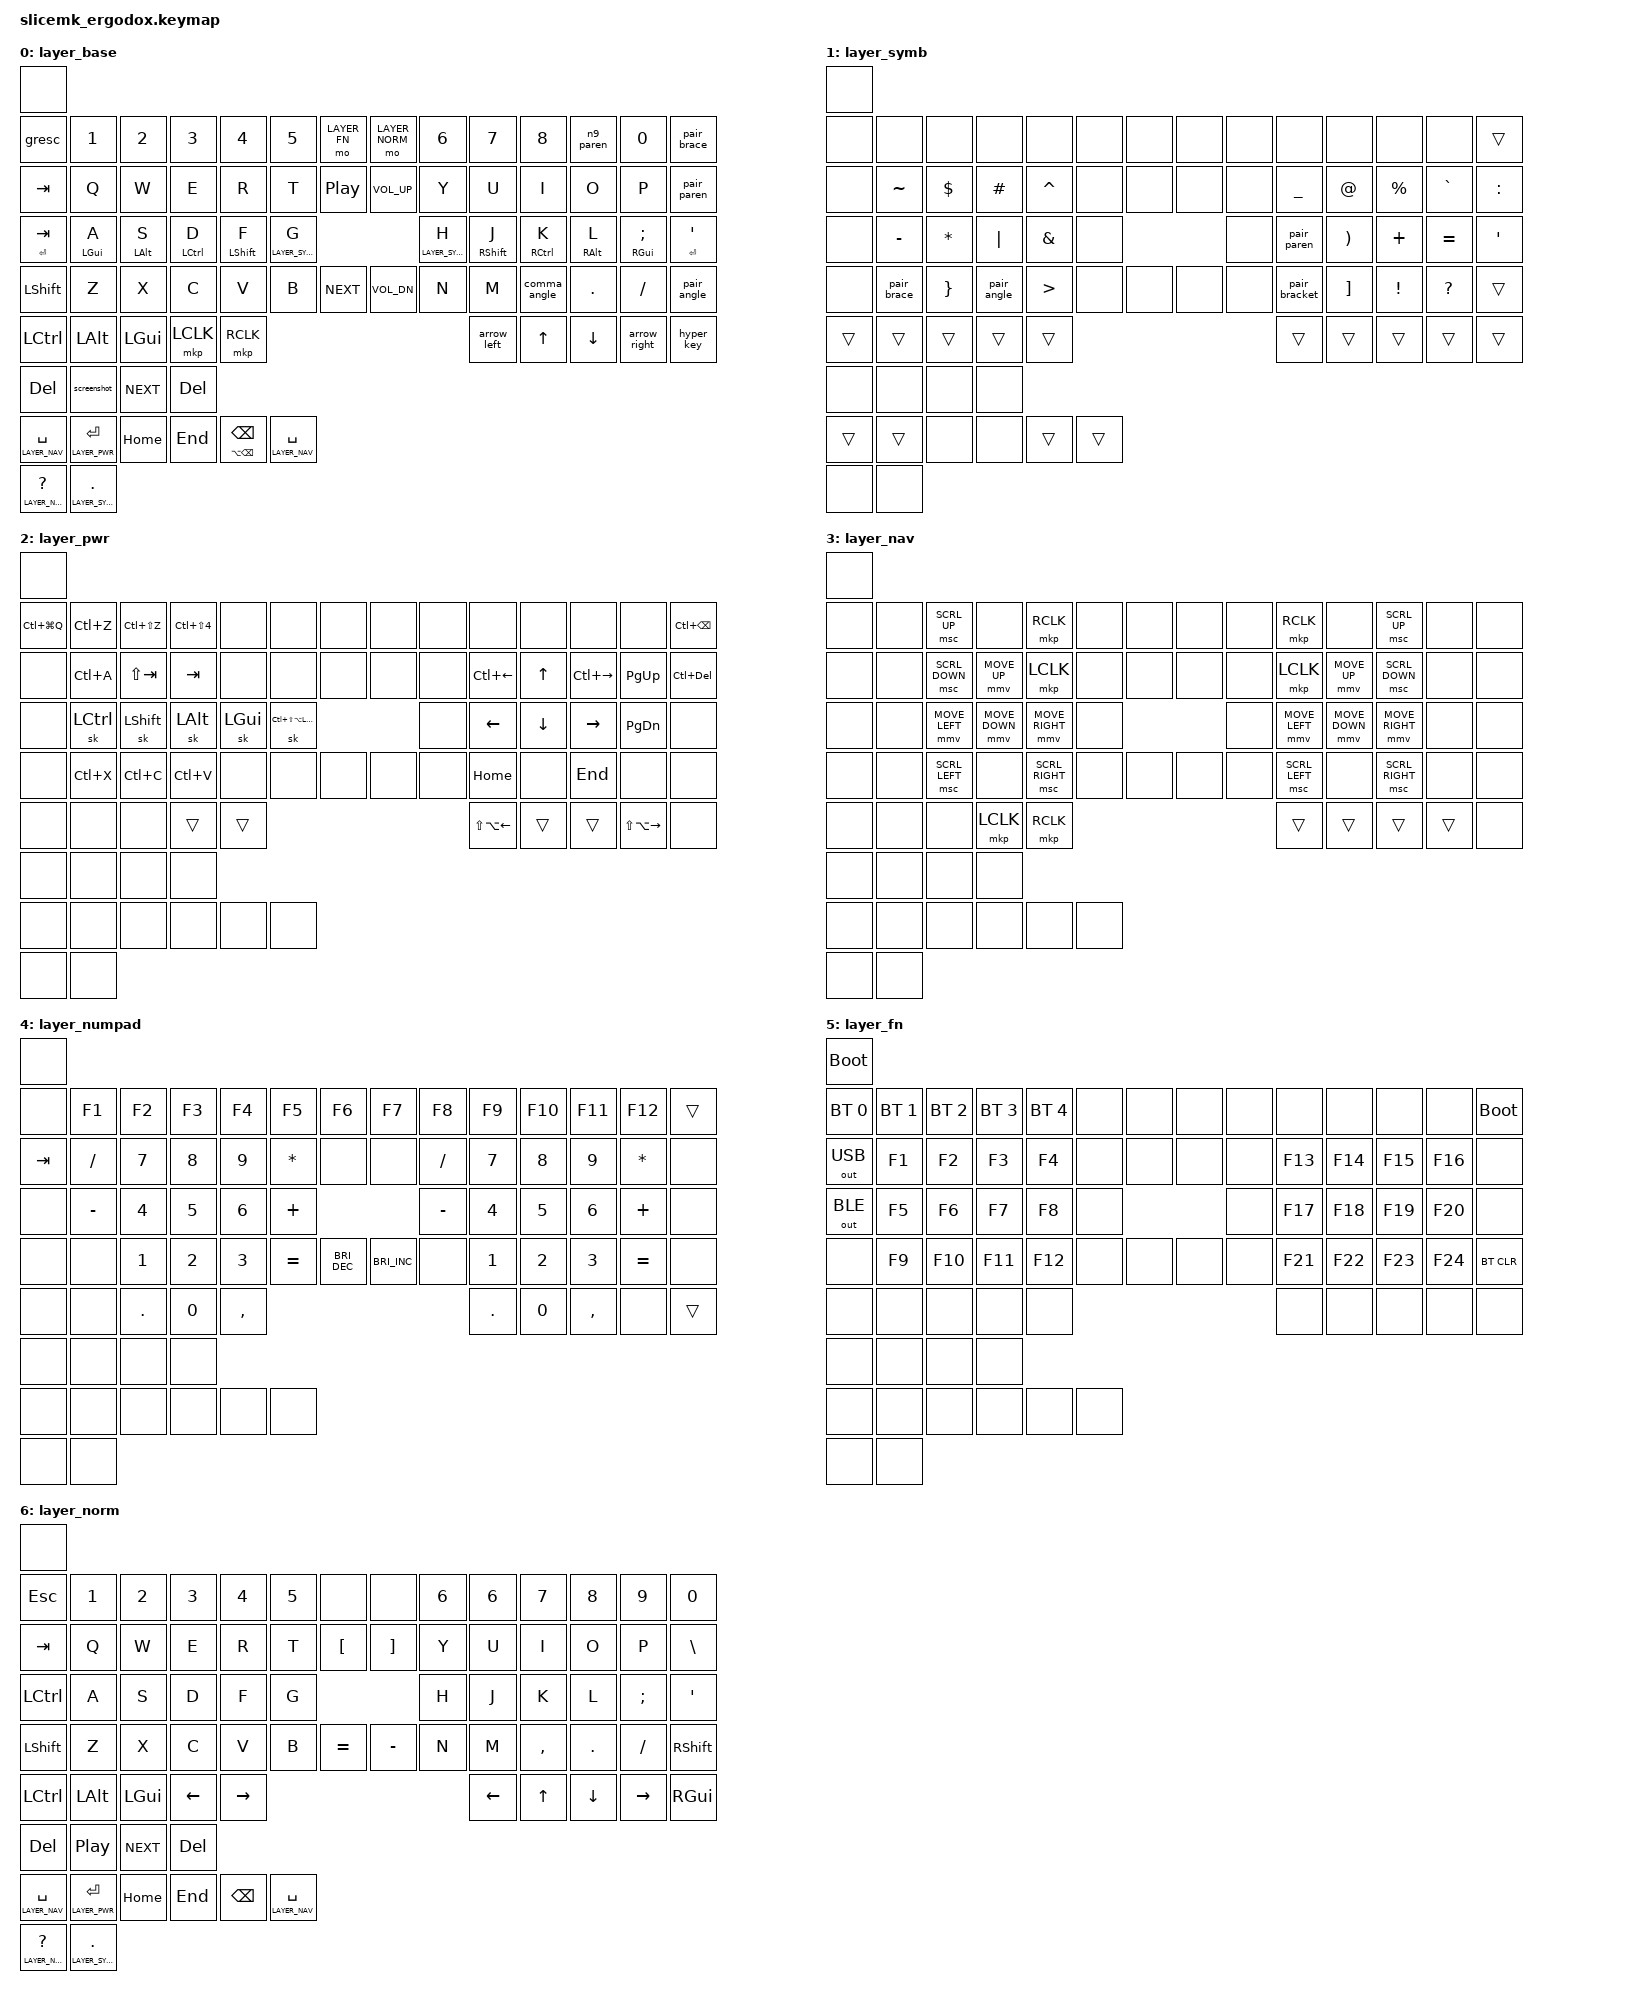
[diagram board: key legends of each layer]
#define LAYER_BASE 0
#define LAYER_SYMB 1
#define LAYER_PWR 2
#define LAYER_NAV 3
#define LAYER_NMPAD 4
#define LAYER_FN 5
#define LAYER_NORM 6

#include <behaviors.dtsi>
#include <dt-bindings/zmk/bt.h>
#include <dt-bindings/zmk/keys.h>
#include <dt-bindings/zmk/mouse.h>
#include <dt-bindings/zmk/outputs.h>

/* Mouse cursor settings - high speed, no acceleration ramp */
&mmv {
    delay-ms = <0>;
    time-to-max-speed-ms = <100>;
    acceleration-exponent = <2>;
};

/* Scroll wheel settings - instant max speed */
&msc {
    delay-ms = <0>;
    time-to-max-speed-ms = <100>;
    acceleration-exponent = <1>;
};


/ {
    behaviors {
        /* Grave/Escape key - Grave when held with Shift/Cmd, Escape otherwise */
        gresc: grave_escape {
            compatible = "zmk,behavior-mod-morph";
            #binding-cells = <0>;
            bindings = <&kp ESC>, <&kp GRAVE>;
            mods = <(MOD_LGUI|MOD_LSFT|MOD_RGUI|MOD_RSFT)>;
        };

        /* N9 key - outputs 9 normally, pair_paren macro when any modifier is held */
        n9_paren: n9_parentheses {
            compatible = "zmk,behavior-mod-morph";
            #binding-cells = <0>;
            bindings = <&kp N9>, <&pair_paren>;
            mods = <(MOD_LSFT|MOD_RSFT|MOD_LCTL|MOD_RCTL|MOD_LALT|MOD_RALT|MOD_LGUI|MOD_RGUI)>;
        };

        /* Comma key - outputs comma normally, pair_angle (<>) when any modifier is held */
        comma_angle: comma_angle_brackets {
            compatible = "zmk,behavior-mod-morph";
            #binding-cells = <0>;
            bindings = <&kp COMMA>, <&pair_angle>;
            mods = <(MOD_LSFT|MOD_RSFT|MOD_LCTL|MOD_RCTL|MOD_LALT|MOD_RALT|MOD_LGUI|MOD_RGUI)>;
        };

        /* Double quote key - outputs " normally, pair_dquote ("") when any modifier is held */
        dqt_pair: double_quote_pair {
            compatible = "zmk,behavior-mod-morph";
            #binding-cells = <0>;
            bindings = <&kp DQT>, <&pair_dquote>;
            mods = <(MOD_LSFT|MOD_RSFT|MOD_LCTL|MOD_RCTL|MOD_LALT|MOD_RALT|MOD_LGUI|MOD_RGUI)>;
        };

        /* Home row mods - optimized for fast typing */
        hm: homerow_mod {
            compatible = "zmk,behavior-hold-tap";
            #binding-cells = <2>;
            flavor = "balanced";
            tapping-term-ms = <300>;
            quick-tap-ms = <200>;
            require-prior-idle-ms = <200>;
            bindings = <&kp>, <&kp>;
        };

        /* Home row mods for shift - shorter timing for faster access */
        hms: homerow_mod_shift {
            compatible = "zmk,behavior-hold-tap";
            #binding-cells = <2>;
            flavor = "balanced";
            tapping-term-ms = <250>;
            quick-tap-ms = <200>;
            require-prior-idle-ms = <200>;
            bindings = <&kp>, <&kp>;
        };

        /* Hold backspace = delete word (Option+Backspace on macOS) */
        bspc_word: backspace_word {
            compatible = "zmk,behavior-hold-tap";
            #binding-cells = <2>;
            flavor = "balanced";
            tapping-term-ms = <250>;
            quick-tap-ms = <0>;
            require-prior-idle-ms = <200>;
            bindings = <&kp>, <&kp>;
        };

        /* Arrow keys with word jump on hold */
        arrow_left: arrow_word_left {
            compatible = "zmk,behavior-hold-tap";
            #binding-cells = <0>;
            flavor = "balanced";
            tapping-term-ms = <250>;
            quick-tap-ms = <200>;
            require-prior-idle-ms = <150>;
            bindings = <&word_left>, <&kp LEFT>;
        };

        arrow_right: arrow_word_right {
            compatible = "zmk,behavior-hold-tap";
            #binding-cells = <0>;
            flavor = "balanced";
            tapping-term-ms = <250>;
            quick-tap-ms = <200>;
            require-prior-idle-ms = <150>;
            bindings = <&word_right>, <&kp RIGHT>;
        };
    };

    macros {
        /* Screenshot - ⌘⇧4 (selection) */
        screenshot: screenshot_macro {
            compatible = "zmk,behavior-macro";
            #binding-cells = <0>;
            bindings = <&kp LG(LS(N4))>;
        };

        /* Hyper key macro - ⌘⌃⌥⇧ for Raycast/Alfred */
        hyper_key: hyper_key_macro {
            compatible = "zmk,behavior-macro";
            #binding-cells = <0>;
            bindings = <&sk LGUI>, <&sk LALT>, <&sk LCTRL>, <&sk LSHFT>;
        };

        /* Word navigation macros - ⌃← and ⌃→ for macOS */
        word_left: word_jump_left {
            compatible = "zmk,behavior-macro";
            #binding-cells = <0>;
            bindings = <&kp LC(LEFT)>;
        };

        word_right: word_jump_right {
            compatible = "zmk,behavior-macro";
            #binding-cells = <0>;
            bindings = <&kp LC(RIGHT)>;
        };
        
        /* Auto-pair macros - type opening + closing, cursor moves to middle */
        pair_paren: pair_parentheses {
            compatible = "zmk,behavior-macro";
            #binding-cells = <0>;
            bindings = <&kp LPAR>, <&kp RPAR>, <&kp LEFT>;
        };

        pair_bracket: pair_brackets {
            compatible = "zmk,behavior-macro";
            #binding-cells = <0>;
            bindings = <&kp LBKT>, <&kp RBKT>, <&kp LEFT>;
        };

        pair_brace: pair_braces {
            compatible = "zmk,behavior-macro";
            #binding-cells = <0>;
            bindings = <&kp LBRC>, <&kp RBRC>, <&kp LEFT>;
        };

        pair_angle: pair_angle_brackets {
            compatible = "zmk,behavior-macro";
            #binding-cells = <0>;
            bindings = <&kp LT>, <&kp GT>, <&kp LEFT>;
        };

        pair_dquote: pair_double_quotes {
            compatible = "zmk,behavior-macro";
            #binding-cells = <0>;
            bindings = <&kp DQT>, <&kp DQT>, <&kp LEFT>;
        };

    };

	keymap {
		compatible = "zmk,keymap";

		/* LAYER 0: Base Layer - QWERTY with Home Row Mods (GACS: Gui-Alt-Ctrl-Shift) */
		layer_base {
			bindings = <
			/* Row 0 */
				&none
			/* Row 1 */
				&gresc                          &kp N1                          &kp N2                          &kp N3                          &kp N4                          &kp N5                          &mo LAYER_FN                    &mo LAYER_NORM                  &kp N6                          &kp N7                          &kp N8                          &n9_paren                       &kp N0                          &pair_brace
			/* Row 2 */
				&kp TAB                         &kp Q                           &kp W                           &kp E                           &kp R                           &kp T                           &kp C_PLAY_PAUSE                &kp C_VOL_UP                    &kp Y                           &kp U                           &kp I                           &kp O                           &kp P                           &pair_paren
			/* Row 3 */
				&hm RET TAB                     &hm LGUI A                      &hm LALT S                      &hm LCTRL D                     &hms LSHIFT F                   &lt LAYER_SYMB G                                                                                &lt LAYER_SYMB H                &hms RSHIFT J                   &hm RCTRL K                     &hm RALT L                      &hm RGUI SEMI                   &hm RET SINGLE_QUOTE
			/* Row 4 */
				&kp LSHFT                       &kp Z                           &kp X                           &kp C                           &kp V                           &kp B                           &kp C_NEXT                      &kp C_VOL_DN                    &kp N                           &kp M                           &comma_angle                    &kp DOT                         &kp FSLH                        &pair_angle
			/* Row 5 */
				&kp LCTRL                       &kp LALT                        &kp LGUI                        &mkp LCLK                       &mkp RCLK                                                                                                                                                       &arrow_left                     &kp UP                          &kp DOWN                        &arrow_right                    &hyper_key
			/* Thumb Cluster */
				&kp DEL                         &screenshot                     &kp C_NEXT                      &kp DEL
			/* Thumb Cluster */
				&lt LAYER_NAV SPACE             &lt LAYER_PWR RET               &kp HOME                        &kp END                         &bspc_word LA(BACKSPACE) BACKSPACE &lt LAYER_NAV SPACE
			/* Thumb Cluster */
				&lt LAYER_NMPAD QUESTION        &lt LAYER_SYMB PERIOD
			>;
		};
		/* LAYER 1: Symbol Layer - matches MoErgo layout */
		layer_symb {
			bindings = <
			/* Row 0 */
				&none
			/* Row 1 */
				&none                           &none                           &none                           &none                           &none                           &none                           &none                           &none                           &none                           &none                           &none                           &none                           &none                           &trans
			/* Row 2 */
				&none                           &kp TILDE                       &kp DOLLAR                      &kp HASH                        &kp CARET                       &none                           &none                           &none                           &none                           &kp UNDERSCORE                  &kp AT_SIGN                     &kp PERCENT                     &kp GRAVE                       &kp COLON
			/* Row 3 */
				&none                           &kp MINUS                       &kp ASTERISK                    &kp PIPE                        &kp AMPERSAND                   &none                                                                                           &none                           &pair_paren                     &kp RIGHT_PARENTHESIS           &kp PLUS                        &kp EQUAL                       &kp SINGLE_QUOTE
			/* Row 4 */
				&none                           &pair_brace                     &kp RIGHT_BRACE                 &pair_angle                     &kp GREATER_THAN                &none                           &none                           &none                           &none                           &pair_bracket                   &kp RIGHT_BRACKET               &kp EXCLAMATION                 &kp QUESTION                    &trans
			/* Row 5 */
				&trans                          &trans                          &trans                          &trans                          &trans                                                                                                                                                          &trans                          &trans                          &trans                          &trans                          &trans
			/* Thumb Cluster */
				&none                           &none                           &none                           &none
			/* Thumb Cluster */
				&trans                          &trans                          &none                           &none                           &trans                          &trans
			/* Thumb Cluster */
				&none                           &none
			>;
		};
		/* LAYER 2: Power/Shortcuts Layer */
		layer_pwr {
			bindings = <
			/* Row 0 */
				&none
			/* Row 1 */
				&kp LC(LG(Q))                   &kp LC(Z)                       &kp LC(LS(Z))                   &kp LC(LS(NUMBER_4))            &none                           &none                           &none                           &none                           &none                           &none                           &none                           &none                           &none                           &kp LC(BACKSPACE)
			/* Row 2 */
				&none                           &kp LC(A)                       &kp LS(TAB)                     &kp TAB                         &none                           &none                           &none                           &none                           &none                           &kp LC(LEFT)                    &kp UP_ARROW                    &kp LC(RIGHT)                   &kp PAGE_UP                     &kp LC(DELETE)
			/* Row 3 */
				&none                           &sk LCTRL                       &sk LSHIFT                      &sk LALT                        &sk LGUI                        &sk LC(LS(LA(LEFT_GUI)))                                                                        &none                           &kp LEFT_ARROW                  &kp DOWN_ARROW                  &kp RIGHT_ARROW                 &kp PAGE_DOWN                   &none
			/* Row 4 */
				&none                           &kp LC(X)                       &kp LC(C)                       &kp LC(V)                       &none                           &none                           &none                           &none                           &none                           &kp HOME                        &none                           &kp END                         &none                           &none
			/* Row 5 */
				&none                           &none                           &none                           &trans                          &trans                                                                                                                                                          &kp LS(LA(LEFT_ARROW))          &trans                          &trans                          &kp LS(LA(RIGHT_ARROW))         &none
			/* Thumb Cluster */
				&none                           &none                           &none                           &none
			/* Thumb Cluster */
				&none                           &none                           &none                           &none                           &none                           &none
			/* Thumb Cluster */
				&none                           &none
			>;
		};
		/* LAYER 3: Navigation/Mouse Layer */
		layer_nav {
			bindings = <
			/* Row 0 */
				&none
			/* Row 1 */
				&none                           &none                           &msc SCRL_UP                    &none                           &mkp RCLK                       &none                           &none                           &none                           &none                           &mkp RCLK                       &none                           &msc SCRL_UP                    &none                           &none
			/* Row 2 */
				&none                           &none                           &msc SCRL_DOWN                  &mmv MOVE_UP                    &mkp LCLK                       &none                           &none                           &none                           &none                           &mkp LCLK                       &mmv MOVE_UP                    &msc SCRL_DOWN                  &none                           &none
			/* Row 3 */
				&none                           &none                           &mmv MOVE_LEFT                  &mmv MOVE_DOWN                  &mmv MOVE_RIGHT                 &none                                                                                           &none                           &mmv MOVE_LEFT                  &mmv MOVE_DOWN                  &mmv MOVE_RIGHT                 &none                           &none
			/* Row 4 */
				&none                           &none                           &msc SCRL_LEFT                  &none                           &msc SCRL_RIGHT                 &none                           &none                           &none                           &none                           &msc SCRL_LEFT                  &none                           &msc SCRL_RIGHT                 &none                           &none
			/* Row 5 */
				&none                           &none                           &none                           &mkp LCLK                       &mkp RCLK                                                                                                                                                       &trans                          &trans                          &trans                          &trans                          &none
			/* Thumb Cluster */
				&none                           &none                           &none                           &none
			/* Thumb Cluster */
				&none                           &none                           &none                           &none                           &none                           &none
			/* Thumb Cluster */
				&none                           &none
			>;
		};
		/* LAYER 4: Numpad Layer */
		layer_numpad {
			bindings = <
			/* Row 0 */
				&none
			/* Row 1 */
				&none                           &kp F1                          &kp F2                          &kp F3                          &kp F4                          &kp F5                          &kp F6                          &kp F7                          &kp F8                          &kp F9                          &kp F10                         &kp F11                         &kp F12                         &trans
			/* Row 2 */
				&kp TAB                         &kp SLASH                       &kp NUMBER_7                    &kp NUMBER_8                    &kp NUMBER_9                    &kp ASTERISK                    &none                           &none                           &kp SLASH                       &kp NUMBER_7                    &kp NUMBER_8                    &kp NUMBER_9                    &kp ASTERISK                    &none
			/* Row 3 */
				&none                           &kp MINUS                       &kp NUMBER_4                    &kp NUMBER_5                    &kp NUMBER_6                    &kp PLUS                                                                                        &kp MINUS                       &kp NUMBER_4                    &kp NUMBER_5                    &kp NUMBER_6                    &kp PLUS                        &none
			/* Row 4 */
				&none                           &none                           &kp NUMBER_1                    &kp NUMBER_2                    &kp NUMBER_3                    &kp EQUAL                       &kp C_BRIGHTNESS_DEC            &kp C_BRIGHTNESS_INC            &none                           &kp NUMBER_1                    &kp NUMBER_2                    &kp NUMBER_3                    &kp EQUAL                       &none
			/* Row 5 */
				&none                           &none                           &kp PERIOD                      &kp NUMBER_0                    &kp COMMA                                                                                                                                                       &kp PERIOD                      &kp NUMBER_0                    &kp COMMA                       &none                           &trans
			/* Thumb Cluster */
				&none                           &none                           &none                           &none
			/* Thumb Cluster */
				&none                           &none                           &none                           &none                           &none                           &none
			/* Thumb Cluster */
				&none                           &none
			>;
		};
		/* LAYER 5: Function Layer */
		layer_fn {
			bindings = <
			/* Row 0 */
				&bootloader
			/* Row 1 */
				&bt BT_SEL 0                    &bt BT_SEL 1                    &bt BT_SEL 2                    &bt BT_SEL 3                    &bt BT_SEL 4                    &none                           &none                           &none                           &none                           &none                           &none                           &none                           &none                           &bootloader
			/* Row 2 */
				&out OUT_USB                    &kp F1                          &kp F2                          &kp F3                          &kp F4                          &none                           &none                           &none                           &none                           &kp F13                         &kp F14                         &kp F15                         &kp F16                         &none
			/* Row 3 */
				&out OUT_BLE                    &kp F5                          &kp F6                          &kp F7                          &kp F8                          &none                                                                                           &none                           &kp F17                         &kp F18                         &kp F19                         &kp F20                         &none
			/* Row 4 */
				&none                           &kp F9                          &kp F10                         &kp F11                         &kp F12                         &none                           &none                           &none                           &none                           &kp F21                         &kp F22                         &kp F23                         &kp F24                         &bt BT_CLR
			/* Row 5 */
				&none                           &none                           &none                           &none                           &none                                                                                                                                                           &none                           &none                           &none                           &none                           &none
			/* Thumb Cluster */
				&none                           &none                           &none                           &none
			/* Thumb Cluster */
				&none                           &none                           &none                           &none                           &none                           &none
			/* Thumb Cluster */
				&none                           &none
			>;
		};
/* LAYER 6: Normal Layer - used to enter password on OSX, must have no custom behaviors or macros  */
		layer_norm {
			bindings = <
			/* Row 0 */
				&none
			/* Row 1 */
				&kp ESC                         &kp N1                          &kp N2                          &kp N3                          &kp N4                          &kp N5                          &none                           &none                           &kp N6                          &kp N6                          &kp N7                          &kp N8                          &kp N9                          &kp N0
			/* Row 2 */
				&kp TAB                         &kp Q                           &kp W                           &kp E                           &kp R                           &kp T                           &kp LBKT                        &kp RBKT                        &kp Y                           &kp U                           &kp I                           &kp O                           &kp P                           &kp BSLH
			/* Row 3 */
				&kp LCTRL                       &kp A                           &kp S                           &kp D                           &kp F                           &kp G                                                                                           &kp H                           &kp J                           &kp K                           &kp L                           &kp SEMI                        &kp SQT
			/* Row 4 */
				&kp LSHFT                       &kp Z                           &kp X                           &kp C                           &kp V                           &kp B                           &kp EQUAL                       &kp MINUS                       &kp N                           &kp M                           &kp COMMA                       &kp DOT                         &kp FSLH                        &kp RSHFT
			/* Row 5 */
				&kp LCTRL                       &kp LALT                        &kp LGUI                        &kp LEFT                        &kp RIGHT                                                                                                                                                       &kp LEFT                        &kp UP                          &kp DOWN                        &kp RIGHT                       &kp RGUI
			/* Thumb Cluster */
				&kp DEL                         &kp C_PLAY_PAUSE                &kp C_NEXT                      &kp DEL
			/* Thumb Cluster */
				&lt LAYER_NAV SPACE             &lt LAYER_PWR RET               &kp HOME                        &kp END                         &kp BACKSPACE &lt LAYER_NAV SPACE
			/* Thumb Cluster */
				&lt LAYER_NMPAD QUESTION        &lt LAYER_SYMB PERIOD
			>;
		};
	};
};
